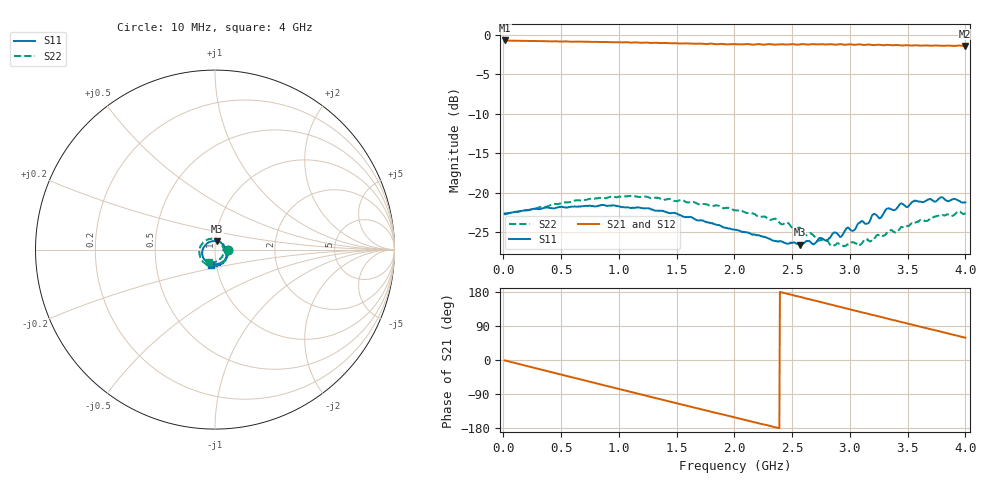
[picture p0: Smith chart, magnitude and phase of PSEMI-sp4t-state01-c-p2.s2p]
! 5/5/2016 4:50:36 PM
! C:\ANRITSUVNA\DATA\PSEMI-SP4T-STATE01-C-P2.S2P
! CHANNEL.1
! TR.MEASUREMENT
! CORRECTED.DATA
# GHZ S RI R 50.0
! FREQ.GHZ  S11RE  S11IM  S21RE  S21IM  S12RE  S12IM  S22RE  S22IM
!; PortSelection: Port_12
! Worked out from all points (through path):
!   801 points, 10 MHz to 4 GHz, reference 50 ohm
!   highest |S21| = -0.74 dB at 10 MHz (marker M1); lowest = -1.4 dB at 3.995 GHz (marker M2)
!   group delay of S21, straight-line fit = 209 ps
!   lowest |S11| = -26.6 dB at 2.564 GHz (marker M3), VSWR 1.10, Z = 50.6 + j4.69 ohm
!   |S11| at or under -10 dB: start of sweep to end of sweep
!   |S22| runs from -26.8 to -20.4 dB; largest |S21 - S12| = 0.0056
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0.01  0.0735 -0.00342  0.918 -0.0164  0.9176 -0.0163  0.0745 -0.00425
0.3441625  0.0553 -0.0576  0.8124 -0.4068  0.8118 -0.4067  0.0559 -0.0594
0.678325  0.00158 -0.0821  0.5535 -0.7099  0.5532 -0.7093  0.00151 -0.0891
0.9925375  -0.0462 -0.0679  0.2172 -0.8683  0.2167 -0.8674  -0.0519 -0.0784
1.152138  -0.0616 -0.052  0.0312 -0.8921  0.0311 -0.8911  -0.0702 -0.0628
1.341662  -0.07 -0.032  -0.1888 -0.8654  -0.1868 -0.8661  -0.0833 -0.0407
1.615975  -0.0703 -0.00293  -0.4766 -0.7372  -0.4762 -0.7405  -0.0871 -0.004
1.800512  -0.0629 0.0125  -0.636 -0.6033  -0.6361 -0.6012  -0.0811 0.016
2.005  -0.0516 0.027  -0.7656 -0.4132  -0.7628 -0.415  -0.0689 0.0353
2.289287  -0.027 0.0439  -0.8626 -0.1135  -0.8636 -0.1098  -0.0398 0.0554
2.5636  0.00853 0.0462  -0.8446 0.1929  -0.8445 0.197  0.000714 0.0601
2.673325  0.0213 0.0426  -0.8107 0.3169  -0.8089 0.3195  0.0151 0.0524
2.8429  0.0452 0.0299  -0.7167 0.4916  -0.7171 0.4916  0.0334 0.032
2.947637  0.0536 0.0158  -0.6373 0.5822  -0.6367 0.5805  0.0424 0.0176
3.167088  0.0627 -0.0174  -0.4463 0.7411  -0.4465 0.744  0.0472 -0.0148
3.206987  0.0691 -0.0246  -0.4053 0.7558  -0.4044 0.7545  0.0464 -0.0208
3.26185  0.0631 -0.0281  -0.3465 0.788  -0.3476 0.7907  0.0457 -0.0283
3.336663  0.0664 -0.0438  -0.2693 0.8168  -0.2669 0.8202  0.0416 -0.0387
3.655863  0.0293 -0.0836  0.0819 0.8508  0.0821 0.8504  0.00847 -0.0658
3.795513  0.011 -0.0931  0.2328 0.8164  0.2351 0.8151  -0.00823 -0.0712
3.995013  -0.0196 -0.0848  0.4341 0.7264  0.436 0.7238  -0.0306 -0.067
4  -0.0206 -0.0845  0.4381 0.7243  0.4401 0.7204  -0.0312 -0.0673
